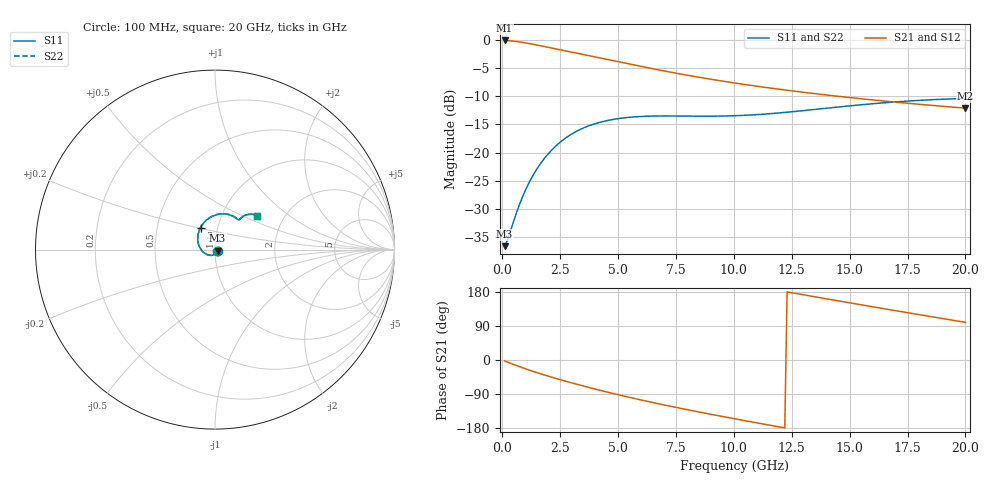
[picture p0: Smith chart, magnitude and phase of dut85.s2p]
! Touchstone file exported from HFSS 2024.1.0
!  File:  C:/UserFiles/LocalFiles/RDL_TSV_Batchsim/temp_RDL_TSV_85_1779415796.aedt
!  Generated:  10:27:12 AM May 22, 2026
!  Design:  RDL_TSV
!  Project:  temp_RDL_TSV_85_1779415796
!  Setup:  Setup1
!  Solution:  Sweep
! Variables:
!  dtsv = 14.02um
!  hbump = 3um
!  htsv = 95.24um
!  ldown = 647.48um
!  lrdl = 406.11um
!  p = 40
!  p1 = 51.11um
!  rhole = 10um
!  subl = 3566.88um
!  t = 450um
!  tdown = 4.07um
!  trdl = 2.83um
!  viad = 10um
!  wdown = 25.42um
!  wrdl = 24.76um
!  xbump = 18um
# GHz S MA R 50.000000
! Terminal data exported
! Port[1] = TM1_1_T1
! Port[2] = TM1_4_T1
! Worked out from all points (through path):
!   200 points, 100 MHz to 20 GHz, reference 50 ohm
!   highest |S21| = -0.15 dB at 100 MHz (marker M1); lowest = -12.1 dB at 20 GHz (marker M2)
!   group delay of S21, straight-line fit = 34.1 ps
!   lowest |S11| = -36.6 dB at 100 MHz (marker M3), VSWR 1.03, Z = 51.4 - j0.529 ohm
!   |S11| at or under -10 dB: start of sweep to end of sweep
!   |S22| runs from -36.6 to -10.4 dB; largest |S21 - S12| = 1.4e-14
!   S11 on the Smith chart (normalised r, x): 100 MHz: 1.03, -0.01; 3 GHz: 0.83, +0.21; 20 GHz: 1.46, +0.61
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0.1  0.01487 -20.2  0.9825 -2.5  0.9825 -2.5  0.01485 -20.6
! Gamma 0 0 0 0
! Port Impedance 50 0 50 0
0.2  0.01641 -39.5  0.9798 -4.9  0.9798 -4.9  0.01644 -40.1
0.8  0.03722 -121.2  0.9496 -18.8  0.9496 -18.8  0.03773 -121.5
1.1  0.05137 -147.3  0.9275 -25.3  0.9275 -25.3  0.05206 -147.4
1.4  0.06674 -168.2  0.9031 -31.4  0.9031 -31.4  0.06757 -168.3
1.7  0.08266 174.5  0.8779 -37.3  0.8779 -37.3  0.08359 174.5
2.1  0.1037 155.4  0.8446 -44.8  0.8446 -44.8  0.1048 155.5
2.5  0.1237 139.7  0.8123 -51.9  0.8123 -51.9  0.1248 139.8
3  0.1461 123.5  0.7737 -60.4  0.7737 -60.4  0.1473 123.6
3.5  0.165 110.2  0.7369 -68.7  0.7369 -68.7  0.1662 110.2
4.2  0.1852 95.1  0.6881 -79.6  0.6881 -79.6  0.1865 95.1
5.1  0.2013 80.3  0.6302 -93.0  0.6302 -93.0  0.2027 80.3
5.9  0.2083 70.5  0.5835 -104.2  0.5835 -104.2  0.2099 70.4
6.8  0.2109 62.5  0.5368 -116.2  0.5368 -116.2  0.2125 62.4
8.3  0.2101 54.8  0.4716 -134.9  0.4716 -134.9  0.2117 54.5
10.1  0.2122 51.6  0.4111 -155.9  0.4111 -155.9  0.2135 51.2
11.6  0.2213 51.0  0.3719 -172.6  0.3719 -172.6  0.2222 50.5
13.4  0.2399 50.1  0.3342 167.9  0.3342 167.9  0.2402 49.6
15  0.2592 48.3  0.3071 150.9  0.3071 150.9  0.2591 47.8
16.7  0.2782 45.4  0.2832 133.1  0.2832 133.1  0.2778 44.9
18.3  0.2921 42.2  0.2644 116.7  0.2644 116.7  0.2914 41.8
20  0.3016 38.9  0.2476 99.3  0.2476 99.3  0.3007 38.5
